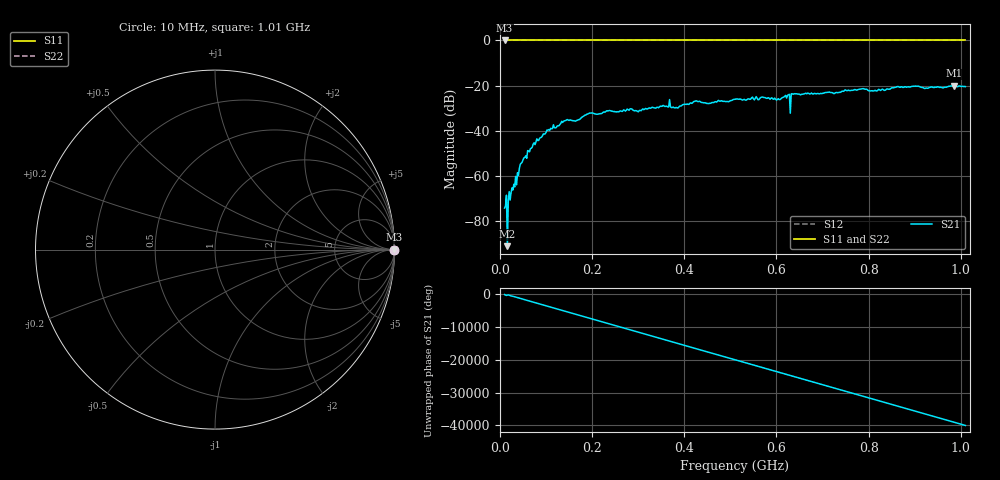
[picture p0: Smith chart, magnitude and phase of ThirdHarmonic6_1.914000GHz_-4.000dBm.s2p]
! 8/16/2025 11:05:02 PM
! C:\ANRITSUVNA\TEMP\TEMP.S2P
! CHANNEL.1
! TR.MEASUREMENT
! RAW.DATA
! RF.CORRECTION.OFF
! AVERAGING.OFF
! IF.BANDWIDTH: 5KHZ
! SWEEPTYPE:  FREQ.SWEEP(Linear)
! Reference Plane Port Info
! PORT:  PORT1  PORT2
! DISTANCE:  0  m  0  m
! TIME:  0  s  0  s
! PHASE.OFFSET:  0  deg.  0  deg.
! LOSS:  0  dB  0  dB
! REF.LOSS:  0  dB  0  dB
! REF.FREQ:  0  Hz  0  Hz
! Power Info
! POWER:  -20  dBm  -20  dBm
! EFF.POWER:  -20  dBm  -20  dBm
! SOURCE.ATTEN:  0  dB  0  dB
! TEST.ATTEN:  0  dB  0  dB
# GHZ S RI R 50.0
! FREQ.GHZ  S11RE  S11IM  S21RE  S21IM  S12RE  S12IM  S22RE  S22IM
!; PortSelection: Port_12
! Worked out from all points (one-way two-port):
!   501 points, 10 MHz to 1.01 GHz, reference 50 ohm
!   highest |S21| = -19.99 dB at 986 MHz (marker M1); lowest = -91.1 dB at 16 MHz (marker M2)
!   lowest |S11| = 0.0 dB at 10 MHz (marker M3)
!   |S11| at or under -10 dB: nowhere
!   |S22| runs from 0.0 to 0.0 dB; largest |S21 - S12| = 1.1
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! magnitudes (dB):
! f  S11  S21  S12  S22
! 10 MHz  0.0  -74.2  0.0  0.0
! 12 MHz  0.0  -73.2  0.0  0.0
! 16 MHz  0.0  -91.1  0.0  0.0
! 20 MHz  0.0  -66.9  0.0  0.0
! 22 MHz  0.0  -70.7  0.0  0.0
! 32 MHz  0.0  -64.9  0.0  0.0
! 48 MHz  0.0  -53.9  0.0  0.0
! 76 MHz  0.0  -46.1  0.0  0.0
! 138 MHz  0.0  -35.7  0.0  0.0
! 178 MHz  0.0  -34.0  0.0  0.0
! 196 MHz  0.0  -32.1  0.0  0.0
! 344 MHz  0.0  -29.8  0.0  0.0
! 510 MHz  0.0  -26.0  0.0  0.0
! 604 MHz  0.0  -25.8  0.0  0.0
! 624 MHz  0.0  -24.3  0.0  0.0
! 626 MHz  0.0  -24.0  0.0  0.0
! 634 MHz  0.0  -23.6  0.0  0.0
! 636 MHz  0.0  -23.8  0.0  0.0
! 678 MHz  0.0  -23.7  0.0  0.0
! 844 MHz  0.0  -21.6  0.0  0.0
! 986 MHz  0.0  -20.0  0.0  0.0
! 1.01 GHz  0.0  -20.4  0.0  0.0
